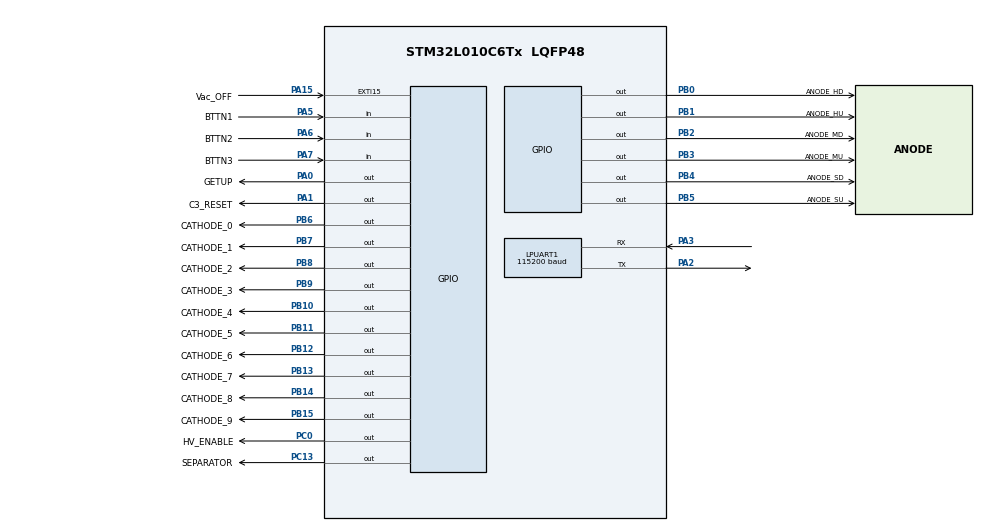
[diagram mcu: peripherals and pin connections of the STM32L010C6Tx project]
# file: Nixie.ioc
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LPUART1.BaudRate=115200
LPUART1.Mode=UART_MODE_RX
LPUART1.WordLength=UART_WORDLENGTH_8B
Mcu.Family=STM32L0
Mcu.Name=STM32L010C6Tx
Mcu.Package=LQFP48
NVIC.EXTI4_15_IRQn=true\:0\:0\:false\:false\:true\:true\:true\:true
NVIC.LPUART1_IRQn=true\:0\:0\:false\:false\:true\:true\:true\:true
NVIC.TIM2_IRQn=true\:0\:0\:false\:false\:true\:true\:true\:true
PA0.GPIO_Label=GETUP
PA0.Signal=GPIO_Output
PA1.GPIO_Label=C3_RESET
PA1.Signal=GPIO_Output
PA13.Mode=Serial_Wire
PA13.Signal=SYS_SWDIO
PA14.Mode=Serial_Wire
PA14.Signal=SYS_SWCLK
PA15.GPIO_Label=Vac_OFF
PA15.GPIO_PuPd=GPIO_PULLUP
PA15.Signal=GPXTI15
PA2.GPIO_Speed=GPIO_SPEED_FREQ_LOW
PA2.Mode=Asynchronous
PA2.Signal=LPUART1_TX
PA3.GPIO_Speed=GPIO_SPEED_FREQ_HIGH
PA3.Mode=Asynchronous
PA3.Signal=LPUART1_RX
PA5.GPIO_Label=BTTN1
PA5.GPIO_PuPd=GPIO_PULLUP
PA5.Signal=GPIO_Input
PA6.GPIO_Label=BTTN2
PA6.GPIO_PuPd=GPIO_PULLUP
PA6.Signal=GPIO_Input
PA7.GPIO_Label=BTTN3
PA7.GPIO_PuPd=GPIO_PULLUP
PA7.Signal=GPIO_Input
PB0.GPIO_Label=ANODE_HD
PB0.Signal=GPIO_Output
PB1.GPIO_Label=ANODE_HU
PB1.Signal=GPIO_Output
PB10.GPIO_Label=CATHODE_4
PB10.Signal=GPIO_Output
PB11.GPIO_Label=CATHODE_5
PB11.Signal=GPIO_Output
PB12.GPIO_Label=CATHODE_6
PB12.Signal=GPIO_Output
PB13.GPIO_Label=CATHODE_7
PB13.Signal=GPIO_Output
PB14.GPIO_Label=CATHODE_8
PB14.Signal=GPIO_Output
PB15.GPIO_Label=CATHODE_9
PB15.Signal=GPIO_Output
PB2.GPIO_Label=ANODE_MD
PB2.Signal=GPIO_Output
PB3.GPIO_Label=ANODE_MU
PB3.Signal=GPIO_Output
PB4.GPIO_Label=ANODE_SD
PB4.Signal=GPIO_Output
PB5.GPIO_Label=ANODE_SU
PB5.Signal=GPIO_Output
PB6.GPIO_Label=CATHODE_0
PB6.Signal=GPIO_Output
PB7.GPIO_Label=CATHODE_1
PB7.Signal=GPIO_Output
PB8.GPIO_Label=CATHODE_2
PB8.Signal=GPIO_Output
PB9.GPIO_Label=CATHODE_3
PB9.Signal=GPIO_Output
PC0.GPIO_Label=HV_ENABLE
PC0.Signal=GPIO_Output
PC13-ANTI_TAMP.GPIO_Label=SEPARATOR
PC13-ANTI_TAMP.Signal=GPIO_Output
PC14-OSC32_IN.Mode=LSE-External-Oscillator
PC14-OSC32_IN.Signal=RCC_OSC32_IN
PC15-OSC32_OUT.Mode=LSE-External-Oscillator
PC15-OSC32_OUT.Signal=RCC_OSC32_OUT
ProjectManager.HeapSize=0x200
ProjectManager.StackSize=0x400
ProjectManager.TargetToolchain=STM32CubeIDE
RCC.AHBFreq_Value=16000000
RCC.APB1Freq_Value=16000000
RCC.APB1TimFreq_Value=16000000
RCC.APB2Freq_Value=16000000
RCC.APB2TimFreq_Value=16000000
RCC.HCLKFreq_Value=16000000
RCC.HSE_VALUE=8000000
RCC.HSI16_VALUE=16000000
RCC.HSI_VALUE=16000000
RCC.Lpuart1ClockSelection=RCC_LPUART1CLKSOURCE_HSI
RCC.MSIClockRange=RCC_MSIRANGE_6
RCC.MSI_VALUE=4194000
RCC.PLLMUL=RCC_PLLMUL_4
RCC.RTCClockSelection=RCC_RTCCLKSOURCE_LSE
RCC.RTCClockSelectionVirtual=RCC_RTCCLKSOURCE_LSE
RCC.SYSCLKFreq_VALUE=16000000
RCC.SYSCLKSource=RCC_SYSCLKSOURCE_HSI
RCC.VCOOutputFreq_Value=64000000
TIM2.Period=9
TIM2.Prescaler=1599
VP_RTC_VS_RTC_Activate.Mode=RTC_Enabled
VP_RTC_VS_RTC_Calendar.Mode=RTC_Calendar
VP_TIM2_VS_ClockSourceINT.Mode=Internal
board=custom

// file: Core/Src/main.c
/* USER CODE BEGIN Header */
/**
  ******************************************************************************
  * @file           : main.c
  * @brief          : Main program body
  ******************************************************************************
  * @attention
  *
  * Copyright (c) 2026 STMicroelectronics.
  * All rights reserved.
  *
  * This software is licensed under terms that can be found in the LICENSE file
  * in the root directory of this software component.
  * If no LICENSE file comes with this software, it is provided AS-IS.
  *
  ******************************************************************************
  */
/* USER CODE END Header */
#include "main.h"
#include "usart.h"
#include "rtc.h"
#include "tim.h"
#include "gpio.h"

/* USER CODE BEGIN Includes */
#include <string.h>
#include <stdio.h>
#include <time.h>

#include "Utils.h"

/* USER CODE END Includes */

/* USER CODE BEGIN PD */
volatile char     rx_buffer[RX_BUFFER_SIZE] = {0};
volatile uint8_t  rx_index    = 0;
volatile uint8_t  rx_complete = 0;

volatile uint8_t  C3SyncReq = 0;

_NixieDisplay NixieDisplay;

/* USER CODE END PD */

/* USER CODE BEGIN PM */
#define FIRST_STARTUP_DELAY		(10*1000+10)
//#define FIRST_STARTUP_DELAY		(5*60*1000)
#define SEPARATOR_DELAYms		500
#define C3FAULT_RETRYms			((3*60)*1000)
/* USER CODE END PM */

void SystemClock_Config(void);
/* USER CODE BEGIN PFP */
void Enter_LowPower_Mode(void);
/* USER CODE END PFP */

int main(void)
{

  /* USER CODE BEGIN 1 */
	NixieDisplay.DisplayMode = DISPLAYMODE_NORMAL;
//	NixieDisplay.DisplayMode = DISPLAYMODE_CDOWN;		//test mode only!
	NixieDisplay.cdown = (10 * 1000) - 1;
  /* USER CODE END 1 */

  /* MCU Configuration--------------------------------------------------------*/

  /* Reset of all peripherals, Initializes the Flash interface and the Systick. */
  LL_APB2_GRP1_EnableClock(LL_APB2_GRP1_PERIPH_SYSCFG);
  LL_APB1_GRP1_EnableClock(LL_APB1_GRP1_PERIPH_PWR);

  /* SysTick_IRQn interrupt configuration */
  NVIC_SetPriority(SysTick_IRQn, 3);

  /* Configure the system clock */
  SystemClock_Config();

  /* USER CODE BEGIN SysInit */
  LL_PWR_EnableBkUpAccess();
  LL_SYSTICK_EnableIT();
  /* USER CODE END SysInit */

  /* Initialize all configured peripherals */
  MX_GPIO_Init();
  MX_LPUART1_UART_Init();
  MX_RTC_Init();
  MX_TIM2_Init();
  /* USER CODE BEGIN 2 */
  LL_EXTI_ClearFlag_0_31(LL_EXTI_LINE_15);
  // set HIGT VOLTAGE to OFF!
  HV_OFF;
  HV_OFF;

  //tutto spento!
  ANODECATHODE_OFF;

  /* USER CODE END 2 */

  /* Infinite loop */
  /* USER CODE BEGIN WHILE */
  uint32_t tickstart = GetTick();
  uint32_t separator = GetTick();
  uint32_t temp      = GetTick();

#if 0
  TEST MODE!

  LL_GPIO_SetOutputPin(ANODE_SU_GPIO_Port, ANODE_SU_Pin);
  LL_GPIO_SetOutputPin(CATHODE_0_GPIO_Port, CATHODE_0_Pin);
  HV_ON;
  HV_OFF;
#endif
  //First startup delay - execute once
  LL_mDelay(500);
  HV_ON;

  uint32_t startup = 0;
  uint8_t ev = 0;
  uint8_t err = 0;
  int val = 0;

  while (1)
  {
	  if (GetTick() > tickstart )	//refresh value from RTC
	  {
		  switch (NixieDisplay.DisplayMode)	{
		  		default:
		  		case DISPLAYMODE_NORMAL:
		  			GetRTC();
		  			break;
		  		case DISPLAYMODE_CDOWN:		CountDown();break;
		  }
		  tickstart = GetTick() + 200;
	  }

	  if (GetTick() > separator )	//blink 'leds'
	  {
		  LL_GPIO_TogglePin(SEPARATOR_GPIO_Port, SEPARATOR_Pin);
//		  LL_GPIO_TogglePin(C3_RESET_GPIO_Port, C3_RESET_Pin);
		  separator = GetTick() + SEPARATOR_DELAYms;
	  }

	  if (startup == 0 && GetTick() > FIRST_STARTUP_DELAY )
	  {
		  C3SyncReq = 1;
		  startup = 1;
	  }

	  //Controllo VAC ed enter LowPOwMOde
//	  if (!VAC_ON && startup)
	  if (!VAC_ON)
	  {
		  // Un piccolo delay di conferma (es. 20ms) per evitare falsi positivi
		  LL_mDelay(20);
		  if (!VAC_ON)
			  Enter_LowPower_Mode();
	  }
	  else
		  LL_mDelay(20);

	  ev = HandleButtons(0);

	  if (Event[1])
	  {
		  C3SyncReq = 1;
		  Event[1] = 0;
	  }

	  if (Event[0] && Event[2] && NixieDisplay.DisplayMode == DISPLAYMODE_NORMAL)
	  {
		  NixieDisplay.DisplayMode = DISPLAYMODE_CDOWN;		//test mode only!
		  NixieDisplay.cdown = (10 * 1000) - 1;
		  if (ev != 0x05)
		  {
			  HandleButtons(1);
			  NixieDisplay.DisplayMode = DISPLAYMODE_NORMAL;
		  }
	  }

	  if (Event[3])		//cancellaz su C3 di SSID/PASSWD
	  {
		  Event[3] = 0;
		  EraseSetupC3();
	  }

    /* USER CODE END WHILE */

    /* USER CODE BEGIN 3 */

    val = RequestTimedateToC3();

    if (val < 0 || NixieDisplay.EvenSecs)	//SYnc con C3 fallito: riprovbo tra xx minuti!
    {
    	//val = 0;
    	if (!err)
    	{
    		err = 1;
    		temp = GetTick() + C3FAULT_RETRYms;
    		NixieDisplay.EvenSecs++;
    	}
    	else if (err == 1 && temp < GetTick())
    	{
    		C3SyncReq = 1;
    		err = 0;
    	}

    	//Ritardo,èer riprovare tra tipo 1h!
    }

    if (val == 0)
    {
    	val = 0;
    	startup = 1;
    	NixieDisplay.EvenSecs = 0;	//OK!
    }
    else if (val == -1)
    {
    	//NOK: ricezione sbagliata!!!
    	val = 0;
    }
    else if (val == -2)
    {
    	//NOK: Timeout!!!
    	val = 0;
    }

  }
  /* USER CODE END 3 */
}

void SystemClock_Config(void)
{
  LL_FLASH_SetLatency(LL_FLASH_LATENCY_0);
  while(LL_FLASH_GetLatency()!= LL_FLASH_LATENCY_0)
  {
  }
  LL_PWR_SetRegulVoltageScaling(LL_PWR_REGU_VOLTAGE_SCALE1);
  while (LL_PWR_IsActiveFlag_VOS() != 0)
  {
  }
  LL_RCC_HSI_Enable();

   /* Wait till HSI is ready */
  while(LL_RCC_HSI_IsReady() != 1)
  {

  }
  LL_RCC_HSI_SetCalibTrimming(16);
  LL_PWR_EnableBkUpAccess();
  if(LL_RCC_GetRTCClockSource() != LL_RCC_RTC_CLKSOURCE_LSE)
  {
    LL_RCC_ForceBackupDomainReset();
    LL_RCC_ReleaseBackupDomainReset();
  }
  LL_RCC_LSE_SetDriveCapability(LL_RCC_LSEDRIVE_LOW);
  LL_RCC_LSE_Enable();

   /* Wait till LSE is ready */
  while(LL_RCC_LSE_IsReady() != 1)
  {

  }
  if(LL_RCC_GetRTCClockSource() != LL_RCC_RTC_CLKSOURCE_LSE)
  {
    LL_RCC_SetRTCClockSource(LL_RCC_RTC_CLKSOURCE_LSE);
  }
  LL_RCC_EnableRTC();
  LL_RCC_SetAHBPrescaler(LL_RCC_SYSCLK_DIV_1);
  LL_RCC_SetAPB1Prescaler(LL_RCC_APB1_DIV_1);
  LL_RCC_SetAPB2Prescaler(LL_RCC_APB2_DIV_1);
  LL_RCC_SetSysClkSource(LL_RCC_SYS_CLKSOURCE_HSI);

   /* Wait till System clock is ready */
  while(LL_RCC_GetSysClkSource() != LL_RCC_SYS_CLKSOURCE_STATUS_HSI)
  {

  }

  LL_Init1msTick(16000000);

  LL_SetSystemCoreClock(16000000);
  LL_RCC_SetLPUARTClockSource(LL_RCC_LPUART1_CLKSOURCE_HSI);
}

/* USER CODE BEGIN 4 */

void LPUART1_Callback(uint8_t data)
{
	if (data == '@') {
		rx_index = 0; // Inizio di un nuovo messaggio
	}
	//else return;

	if (rx_index < RX_BUFFER_SIZE) {
		rx_buffer[rx_index++] = data;

		if (data == '\n' || data == '\r')
		{
			/* Fine stringa */
			rx_buffer[rx_index] = '\0';
			rx_complete = 1;
		}
			// Qui chiami la tua funzione parsetime(&t, &d, rx_buffer)
	}
}

//To be removed (?)
void User_Button_IT_Handler()
{
	C3SyncReq = 1;

//	LL_GPIO_SetOutputPin(LED_R_GPIO_Port, LED_R_Pin);
}

void TIM2_ISR_Handle()
{
	static uint8_t current_tube = 0;
	// 1. Blanking (Spegni anodi e attendi)
	ANODECATHODE_OFF;
	//delay_us(0);

	switch (NixieDisplay.DisplayMode)	{
		default:
		case DISPLAYMODE_NORMAL:	SetNixie(current_tube);			break;
		case DISPLAYMODE_CDOWN:		SetNixieCDown(current_tube);	break;
	}

	// 2. Prossimo tubo
	current_tube = (current_tube + 1) % 6;
}

void Enter_LowPower_Mode(void)
{
	//NON necessari: messi per sicurezza
	HV_OFF;
	ANODECATHODE_OFF;
	LL_GPIO_ResetOutputPin(SEPARATOR_GPIO_Port, SEPARATOR_Pin);
	//NON necessari

	//disable TIM2  -->>> da versione precedente!

	DISABLE_TIM2;
	LL_SYSTICK_DisableIT();
    /*
     * Prima di entrare in STOP:
     * - Nixie già spente (gestisci tu nel main quando serve)
     * - HV 180V già disabilitata
     * - UART verso ESP32C3 già idle
     */

    /* Disabilita i periferici non necessari per ridurre consumo */
    /* (adatta in base a cosa hai attivo) */

    /* Assicurati che il pending flag EXTI15 sia pulito */
    LL_EXTI_ClearFlag_0_31(LL_EXTI_LINE_15);

    /* Seleziona STOP mode (non STANDBY) */
    /* PWR_CR: PDDS=0 → STOP mode */
    LL_PWR_SetPowerMode(LL_PWR_MODE_STOP);

    /* Regolatore in low-power durante STOP (risparmio aggiuntivo) */
    LL_PWR_SetRegulModeLP(LL_PWR_REGU_LPMODES_LOW_POWER);

    /* Sul L010 non c'è ULP mode come sull'L0x3, ma puoi
     * disabilitare il Vrefint se non lo usi */
    /* LL_PWR_EnableUltraLowPower(); // solo se disponibile */

    /* Configura il core per WFI in STOP */
    /* SCR: SLEEPDEEP=1 */
    LL_LPM_EnableDeepSleep();

    /* Barriera + entrata in STOP */
    __DSB();
    __ISB();
    __WFI();

    /*
     * *** EXECUTION RESUMES HERE AFTER WAKEUP ***
     *
     * Dopo il wakeup da STOP, il clock torna su MSI (default),
     * devi reiniziare il clock di sistema se usi HSI o PLL.
     */

    /* Torna in sleep normale per i successivi WFI */
    LL_LPM_EnableSleep();
    LL_EXTI_ClearFlag_0_31(LL_EXTI_LINE_15);
    /* Reinizializza i clock di sistema se necessario */
    SystemClock_Config();
    ENABLE_TIM2;
    LL_SYSTICK_EnableIT();
    HV_ON;
}

/* USER CODE END 4 */

void Error_Handler(void)
{
  __disable_irq();
  while (1)
  {
  }
}
